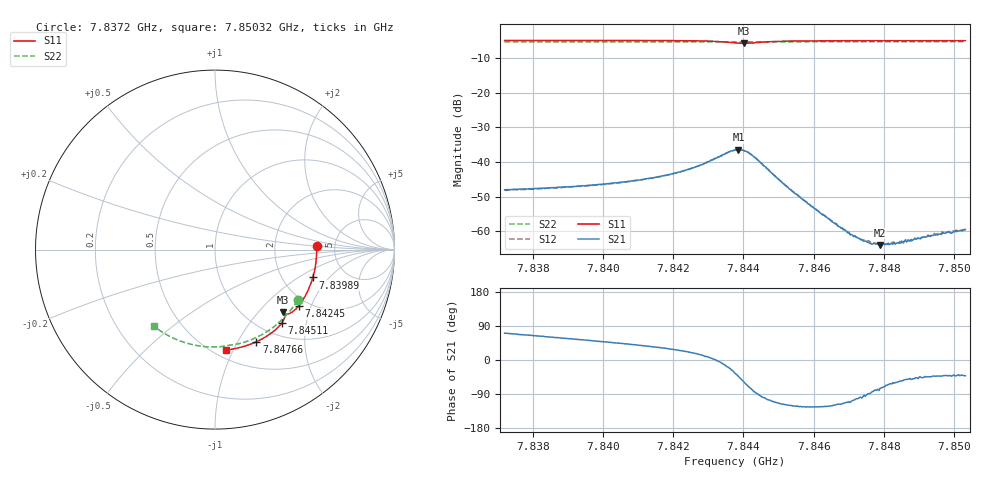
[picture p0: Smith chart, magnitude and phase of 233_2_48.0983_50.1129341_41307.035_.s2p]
#  HZ  S  RI  R  50.00
! Rohde & Schwarz Vector Network Analyzer
! Rohde-Schwarz,ZNB20-2Port,1311601062101988,3.16
! Created: UTC 12/23/2023, 3:58:00 AM
! freq[Hz]  re:S11  im:S11  re:S21  im:S21  re:S12  im:S12  re:S22  im:S22
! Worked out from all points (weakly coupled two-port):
!   401 points, 7.8372 GHz to 7.85032 GHz, reference 50 ohm
!   highest |S21| = -36.45 dB at 7.84386 GHz (marker M1); lowest = -63.9 dB at 7.84789 GHz (marker M2)
!   lowest |S11| = -5.8 dB at 7.84402 GHz (marker M3), VSWR 3.12, Z = 72.5 - j68.8 ohm
!   |S11| at or under -10 dB: nowhere
!   |S22| runs from -5.4 to -5.3 dB; largest |S21 - S12| = 0.00035
!   S11 on the Smith chart (normalised r, x): 7.8372 GHz: 3.59, +0.24; 7.83989 GHz: 2.94, -1.34; 7.84245 GHz: 1.78, -1.64; 7.84511 GHz: 1.24, -1.46; 7.84766 GHz: 0.80, -1.20; 7.85032 GHz: 0.57, -0.94
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7.837203e9  0.5659 0.0225  0.00132 0.00374  0.00134 0.00368  0.46 -0.2821
7.8394e9  0.5536 -0.1229  0.00269 0.00364  0.00264 0.00359  0.3625 -0.4008
7.839892e9  0.5453 -0.155  0.0031 0.00359  0.00304 0.00353  0.3364 -0.4232
7.84104e9  0.5183 -0.2281  0.00429 0.00343  0.00423 0.00343  0.2701 -0.4687
7.841598e9  0.5008 -0.2628  0.00515 0.00334  0.00508 0.00336  0.2354 -0.4873
7.84245e9  0.4664 -0.314  0.00737 0.00278  0.00729 0.0028  0.1803 -0.5105
7.84327e9  0.4172 -0.3553  0.0117 -0.0005  0.0116 -0.000521  0.1244 -0.526
7.843762e9  0.3822 -0.3563  0.0122 -0.0086  0.0124 -0.00832  0.0917 -0.5312
7.84386e9  0.3791 -0.3529  0.0109 -0.0103  0.0109 -0.0102  0.0855 -0.5321
7.844024e9  0.3793 -0.3485  0.00762 -0.0125  0.00757 -0.0124  0.0751 -0.5338
7.844155e9  0.383 -0.3487  0.00439 -0.0128  0.00434 -0.0128  0.0669 -0.5353
7.844352e9  0.3879 -0.3566  0.000758 -0.0113  0.000852 -0.0114  0.054 -0.5377
7.845106e9  0.3731 -0.4073  -0.00224 -0.00449  -0.00223 -0.00453  0.00121 -0.5427
7.845959e9  0.3305 -0.4519  -0.00126 -0.00189  -0.00127 -0.00187  -0.0588 -0.5404
7.847074e9  0.2668 -0.4952  -0.00029 -0.000851  -0.000276 -0.000849  -0.1362 -0.527
7.847336e9  0.2511 -0.5036  -0.000108 -0.000753  -0.000138 -0.000743  -0.154 -0.5224
7.847664e9  0.2312 -0.5132  7.15e-05 -0.000644  3.9e-05 -0.000669  -0.176 -0.5155
7.847894e9  0.2169 -0.5194  0.000172 -0.000612  0.000203 -0.000593  -0.1912 -0.5102
7.848156e9  0.2008 -0.5261  0.000287 -0.000578  0.000273 -0.000606  -0.2084 -0.5037
7.848714e9  0.1653 -0.5382  0.000471 -0.000568  0.00045 -0.00056  -0.2441 -0.4877
7.849501e9  0.1146 -0.5511  0.000663 -0.000606  0.000681 -0.000597  -0.2923 -0.4609
7.85032e9  0.0606 -0.5591  0.000791 -0.000706  0.000811 -0.000687  -0.3393 -0.428
